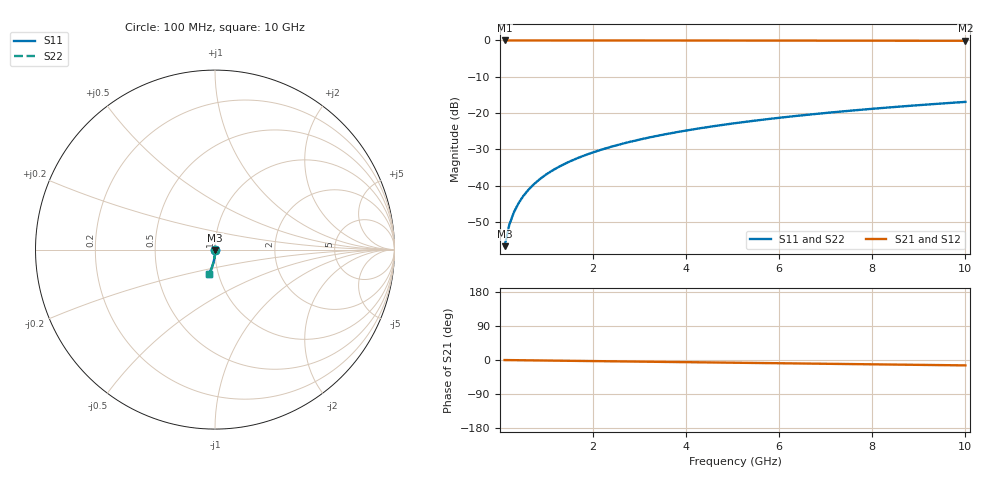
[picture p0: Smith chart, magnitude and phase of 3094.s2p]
# Hz S RI R 50.00
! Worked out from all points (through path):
!   100 points, 100 MHz to 10 GHz, reference 50 ohm
!   highest |S21| = 0.00 dB at 100 MHz (marker M1); lowest = -0.1 dB at 10 GHz (marker M2)
!   group delay of S21, straight-line fit = 3.95 ps
!   lowest |S11| = -56.6 dB at 100 MHz (marker M3), VSWR 1.00, Z = 50 - j0.144 ohm
!   |S11| at or under -10 dB: start of sweep to end of sweep
!   |S22| runs from -56.6 to -16.9 dB; largest |S21 - S12| = 0
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1e8  0.000326 -0.00144  0.9997 -0.00248  0.9997 -0.00248  0.000326 -0.00144
2e8  0.000316 -0.00288  0.9996 -0.00497  0.9996 -0.00497  0.000316 -0.00288
3e8  0.000297 -0.00433  0.9996 -0.00745  0.9996 -0.00745  0.000297 -0.00433
4e8  0.000272 -0.00577  0.9996 -0.00993  0.9996 -0.00993  0.000272 -0.00577
5e8  0.000239 -0.00721  0.9995 -0.0124  0.9995 -0.0124  0.000239 -0.00721
6e8  0.000199 -0.00865  0.9995 -0.0149  0.9995 -0.0149  0.000199 -0.00865
7e8  0.000151 -0.0101  0.9994 -0.0174  0.9994 -0.0174  0.000151 -0.0101
8e8  9.64e-05 -0.0115  0.9994 -0.0199  0.9994 -0.0199  9.64e-05 -0.0115
9e8  3.44e-05 -0.013  0.9993 -0.0223  0.9993 -0.0223  3.44e-05 -0.013
1.1e9  -0.000111 -0.0159  0.9991 -0.0273  0.9991 -0.0273  -0.000111 -0.0159
1.4e9  -0.000383 -0.0202  0.9988 -0.0348  0.9988 -0.0348  -0.000383 -0.0202
1.8e9  -0.000847 -0.0259  0.9983 -0.0447  0.9983 -0.0447  -0.000847 -0.0259
2.1e9  -0.00127 -0.0302  0.9978 -0.0521  0.9978 -0.0521  -0.00127 -0.0302
2.5e9  -0.00193 -0.036  0.997 -0.062  0.997 -0.062  -0.00193 -0.036
2.9e9  -0.00271 -0.0417  0.9961 -0.0719  0.9961 -0.0719  -0.00271 -0.0417
3.4e9  -0.00384 -0.0488  0.9948 -0.0843  0.9948 -0.0843  -0.00384 -0.0488
4.2e9  -0.00603 -0.0602  0.9923 -0.104  0.9923 -0.104  -0.00603 -0.0602
5.1e9  -0.00902 -0.0728  0.9888 -0.126  0.9888 -0.126  -0.00902 -0.0728
5.9e9  -0.0121 -0.084  0.9852 -0.1455  0.9852 -0.1455  -0.0121 -0.084
6.7e9  -0.0157 -0.095  0.9811 -0.1649  0.9811 -0.1649  -0.0157 -0.095
8.4e9  -0.0247 -0.1178  0.9707 -0.2056  0.9707 -0.2056  -0.0247 -0.1178
1e10  -0.0349 -0.1384  0.9588 -0.2431  0.9588 -0.2431  -0.0349 -0.1384
